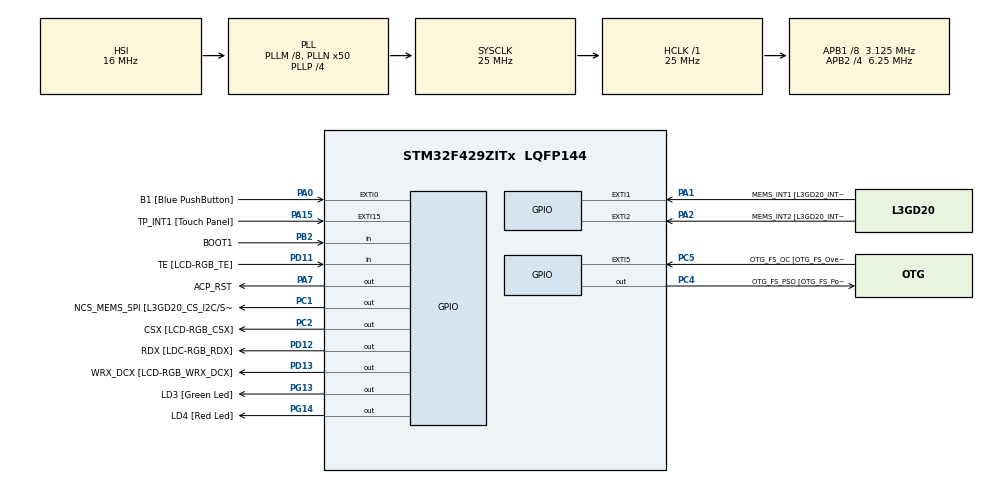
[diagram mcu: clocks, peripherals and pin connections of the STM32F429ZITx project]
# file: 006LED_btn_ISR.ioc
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Mcu.Family=STM32F4
Mcu.Name=STM32F429ZITx
Mcu.Package=LQFP144
NVIC.EXTI0_IRQn=true\:6\:0\:true\:false\:true\:true\:true
NVIC.PriorityGroup=NVIC_PRIORITYGROUP_4
NVIC.TIM6_DAC_IRQn=true\:15\:0\:false\:false\:true\:false\:true
NVIC.TimeBase=TIM6_DAC_IRQn
NVIC.TimeBaseIP=TIM6
PA0/WKUP.GPIO_Label=B1 [Blue PushButton]
PA0/WKUP.GPIO_ModeDefaultEXTI=GPIO_MODE_IT_FALLING
PA0/WKUP.GPIO_PuPd=GPIO_NOPULL
PA0/WKUP.Signal=GPXTI0
PA1.GPIO_Label=MEMS_INT1 [L3GD20_INT1]
PA1.GPIO_ModeDefaultEXTI=GPIO_MODE_EVT_RISING
PA1.GPIO_PuPd=GPIO_NOPULL
PA1.Signal=GPXTI1
PA10.GPIO_Label=STLINK_TX [STM32F103CBT6_PA2]
PA10.Signal=USART1_RX
PA11.GPIO_Label=R4
PA11.GPIO_Mode=GPIO_MODE_AF_PP
PA11.GPIO_PuPd=GPIO_NOPULL
PA11.GPIO_Speed=GPIO_SPEED_FREQ_LOW
PA11.Signal=LTDC_R4
PA12.GPIO_Label=R5
PA12.GPIO_Mode=GPIO_MODE_AF_PP
PA12.GPIO_PuPd=GPIO_NOPULL
PA12.GPIO_Speed=GPIO_SPEED_FREQ_LOW
PA12.Signal=LTDC_R5
PA13.GPIO_Label=SWDIO
PA13.Signal=SYS_JTMS-SWDIO
PA14.GPIO_Label=SWCLK
PA14.Signal=SYS_JTCK-SWCLK
PA15.GPIO_Label=TP_INT1 [Touch Panel]
PA15.GPIO_ModeDefaultEXTI=GPIO_MODE_EVT_RISING
PA15.GPIO_PuPd=GPIO_NOPULL
PA15.Signal=GPXTI15
PA2.GPIO_Label=MEMS_INT2 [L3GD20_INT2]
PA2.GPIO_ModeDefaultEXTI=GPIO_MODE_EVT_RISING
PA2.GPIO_PuPd=GPIO_NOPULL
PA2.Signal=GPXTI2
PA3.GPIO_Label=B5
PA3.GPIO_Mode=GPIO_MODE_AF_PP
PA3.GPIO_PuPd=GPIO_NOPULL
PA3.GPIO_Speed=GPIO_SPEED_FREQ_LOW
PA3.Signal=LTDC_B5
PA4.GPIO_Label=VSYNC
PA4.GPIO_Mode=GPIO_MODE_AF_PP
PA4.GPIO_PuPd=GPIO_NOPULL
PA4.GPIO_Speed=GPIO_SPEED_FREQ_LOW
PA4.Signal=LTDC_VSYNC
PA6.GPIO_Label=G2
PA6.GPIO_Mode=GPIO_MODE_AF_PP
PA6.GPIO_PuPd=GPIO_NOPULL
PA6.GPIO_Speed=GPIO_SPEED_FREQ_LOW
PA6.Signal=LTDC_G2
PA7.GPIO_Label=ACP_RST
PA7.GPIO_Mode=GPIO_MODE_OUTPUT_PP
PA7.GPIO_PuPd=GPIO_NOPULL
PA7.GPIO_Speed=GPIO_SPEED_FREQ_LOW
PA7.Signal=GPIO_Output
PA8.GPIO_Label=I2C3_SCL [ACP/RF_SCL]
PA8.GPIO_Mode=GPIO_MODE_AF_OD
PA8.GPIO_PuPd=GPIO_NOPULL
PA8.GPIO_Speed=GPIO_SPEED_FREQ_LOW
PA8.Signal=I2C3_SCL
PA9.GPIO_Label=STLINK_RX [STM32F103CBT6_PA3]
PA9.Signal=USART1_TX
PB0.GPIO_Label=R3
PB0.GPIO_Mode=GPIO_MODE_AF_PP
PB0.GPIO_PuPd=GPIO_NOPULL
PB0.GPIO_Speed=GPIO_SPEED_FREQ_LOW
PB0.Signal=LTDC_R3
PB1.GPIO_Label=R6
PB1.GPIO_Mode=GPIO_MODE_AF_PP
PB1.GPIO_PuPd=GPIO_NOPULL
PB1.GPIO_Speed=GPIO_SPEED_FREQ_LOW
PB1.Signal=LTDC_R6
PB10.GPIO_Label=G4
PB10.GPIO_Mode=GPIO_MODE_AF_PP
PB10.GPIO_PuPd=GPIO_NOPULL
PB10.GPIO_Speed=GPIO_SPEED_FREQ_LOW
PB10.Signal=LTDC_G4
PB11.GPIO_Label=G5
PB11.GPIO_Mode=GPIO_MODE_AF_PP
PB11.GPIO_PuPd=GPIO_NOPULL
PB11.GPIO_Speed=GPIO_SPEED_FREQ_LOW
PB11.Signal=LTDC_G5
PB12.GPIO_Label=OTG_HS_ID
PB12.GPIO_Mode=GPIO_MODE_AF_PP
PB12.GPIO_PuPd=GPIO_NOPULL
PB12.GPIO_Speed=GPIO_SPEED_FREQ_LOW
PB12.Signal=USB_OTG_HS_ID
PB13.GPIO_Label=VBUS_HS
PB13.GPIO_Mode=GPIO_MODE_INPUT
PB13.GPIO_PuPd=GPIO_NOPULL
PB13.Signal=USB_OTG_HS_VBUS
PB14.GPIO_Label=OTG_HS_DM
PB14.GPIO_Mode=GPIO_MODE_AF_PP
PB14.GPIO_PuPd=GPIO_NOPULL
PB14.GPIO_Speed=GPIO_SPEED_FREQ_LOW
PB14.Signal=USB_OTG_HS_DM
PB15.GPIO_Label=OTG_HS_DP
PB15.GPIO_Mode=GPIO_MODE_AF_PP
PB15.GPIO_PuPd=GPIO_NOPULL
PB15.GPIO_Speed=GPIO_SPEED_FREQ_LOW
PB15.Signal=USB_OTG_HS_DP
PB2/BOOT1.GPIO_Label=BOOT1
PB2/BOOT1.GPIO_Mode=GPIO_MODE_INPUT
PB2/BOOT1.GPIO_PuPd=GPIO_NOPULL
PB2/BOOT1.Signal=GPIO_Input
PB5.GPIO_Label=SDCKE1
PB5.GPIO_Mode=GPIO_MODE_AF_PP
PB5.GPIO_PuPd=GPIO_NOPULL
PB5.GPIO_Speed=GPIO_SPEED_FREQ_VERY_HIGH
PB5.Signal=FMC_SDCKE1
PB6.GPIO_Label=SDNE1 [SDRAM_CS]
PB6.GPIO_Mode=GPIO_MODE_AF_PP
PB6.GPIO_PuPd=GPIO_NOPULL
PB6.GPIO_Speed=GPIO_SPEED_FREQ_VERY_HIGH
PB6.Signal=FMC_SDNE1
PB8.GPIO_Label=B6
PB8.GPIO_Mode=GPIO_MODE_AF_PP
PB8.GPIO_PuPd=GPIO_NOPULL
PB8.GPIO_Speed=GPIO_SPEED_FREQ_LOW
PB8.Signal=LTDC_B6
PB9.GPIO_Label=B7
PB9.GPIO_Mode=GPIO_MODE_AF_PP
PB9.GPIO_PuPd=GPIO_NOPULL
PB9.GPIO_Speed=GPIO_SPEED_FREQ_LOW
PB9.Signal=LTDC_B7
PC0.GPIO_Label=SDNWE
PC0.GPIO_Mode=GPIO_MODE_AF_PP
PC0.GPIO_PuPd=GPIO_NOPULL
PC0.GPIO_Speed=GPIO_SPEED_FREQ_VERY_HIGH
PC0.Signal=FMC_SDNWE
PC1.GPIO_Label=NCS_MEMS_SPI [L3GD20_CS_I2C/SPI]
PC1.GPIO_Mode=GPIO_MODE_OUTPUT_PP
PC1.GPIO_PuPd=GPIO_NOPULL
PC1.GPIO_Speed=GPIO_SPEED_FREQ_LOW
PC1.Signal=GPIO_Output
PC10.GPIO_Label=R2
PC10.GPIO_Mode=GPIO_MODE_AF_PP
PC10.GPIO_PuPd=GPIO_NOPULL
PC10.GPIO_Speed=GPIO_SPEED_FREQ_LOW
PC10.Signal=LTDC_R2
PC14/OSC32_IN.GPIO_Label=PC14-OSC32_IN
PC14/OSC32_IN.Signal=RCC_OSC32_IN
PC15/OSC32_OUT.GPIO_Label=PC15-OSC32_OUT
PC15/OSC32_OUT.Signal=RCC_OSC32_OUT
PC2.GPIO_Label=CSX [LCD-RGB_CSX]
PC2.GPIO_Mode=GPIO_MODE_OUTPUT_PP
PC2.GPIO_PuPd=GPIO_NOPULL
PC2.GPIO_Speed=GPIO_SPEED_FREQ_LOW
PC2.Signal=GPIO_Output
PC4.GPIO_Label=OTG_FS_PSO [OTG_FS_PowerSwitchOn]
PC4.GPIO_Mode=GPIO_MODE_OUTPUT_PP
PC4.GPIO_PuPd=GPIO_NOPULL
PC4.GPIO_Speed=GPIO_SPEED_FREQ_LOW
PC4.Signal=GPIO_Output
PC5.GPIO_Label=OTG_FS_OC [OTG_FS_OverCurrent]
PC5.GPIO_ModeDefaultEXTI=GPIO_MODE_EVT_RISING
PC5.Signal=GPXTI5
PC6.GPIO_Label=HSYNC
PC6.GPIO_Mode=GPIO_MODE_AF_PP
PC6.GPIO_PuPd=GPIO_NOPULL
PC6.GPIO_Speed=GPIO_SPEED_FREQ_LOW
PC6.Signal=LTDC_HSYNC
PC7.GPIO_Label=G6
PC7.GPIO_Mode=GPIO_MODE_AF_PP
PC7.GPIO_PuPd=GPIO_NOPULL
PC7.GPIO_Speed=GPIO_SPEED_FREQ_LOW
PC7.Signal=LTDC_G6
PC9.GPIO_Label=I2C3_SDA [ACP/RF_SDA]
PC9.GPIO_Mode=GPIO_MODE_AF_OD
PC9.GPIO_PuPd=GPIO_NOPULL
PC9.GPIO_Speed=GPIO_SPEED_FREQ_LOW
PC9.Signal=I2C3_SDA
PD0.GPIO_Label=D2
PD0.GPIO_Mode=GPIO_MODE_AF_PP
PD0.GPIO_PuPd=GPIO_NOPULL
PD0.GPIO_Speed=GPIO_SPEED_FREQ_VERY_HIGH
PD0.Signal=FMC_D2_DA2
PD1.GPIO_Label=D3
PD1.GPIO_Mode=GPIO_MODE_AF_PP
PD1.GPIO_PuPd=GPIO_NOPULL
PD1.GPIO_Speed=GPIO_SPEED_FREQ_VERY_HIGH
PD1.Signal=FMC_D3_DA3
PD10.GPIO_Label=D15
PD10.GPIO_Mode=GPIO_MODE_AF_PP
PD10.GPIO_PuPd=GPIO_NOPULL
PD10.GPIO_Speed=GPIO_SPEED_FREQ_VERY_HIGH
PD10.Signal=FMC_D15_DA15
PD11.GPIO_Label=TE [LCD-RGB_TE]
PD11.GPIO_Mode=GPIO_MODE_INPUT
PD11.GPIO_PuPd=GPIO_NOPULL
PD11.Signal=GPIO_Input
PD12.GPIO_Label=RDX [LDC-RGB_RDX]
PD12.GPIO_Mode=GPIO_MODE_OUTPUT_PP
PD12.GPIO_PuPd=GPIO_NOPULL
PD12.GPIO_Speed=GPIO_SPEED_FREQ_LOW
PD12.Signal=GPIO_Output
PD13.GPIO_Label=WRX_DCX [LCD-RGB_WRX_DCX]
PD13.GPIO_Mode=GPIO_MODE_OUTPUT_PP
PD13.GPIO_PuPd=GPIO_NOPULL
PD13.GPIO_Speed=GPIO_SPEED_FREQ_LOW
PD13.Signal=GPIO_Output
PD14.GPIO_Label=D0
PD14.GPIO_Mode=GPIO_MODE_AF_PP
PD14.GPIO_PuPd=GPIO_NOPULL
PD14.GPIO_Speed=GPIO_SPEED_FREQ_VERY_HIGH
PD14.Signal=FMC_D0_DA0
PD15.GPIO_Label=D1
PD15.GPIO_Mode=GPIO_MODE_AF_PP
PD15.GPIO_PuPd=GPIO_NOPULL
PD15.GPIO_Speed=GPIO_SPEED_FREQ_VERY_HIGH
PD15.Signal=FMC_D1_DA1
PD3.GPIO_Label=G7
PD3.GPIO_Mode=GPIO_MODE_AF_PP
PD3.GPIO_PuPd=GPIO_NOPULL
PD3.GPIO_Speed=GPIO_SPEED_FREQ_LOW
PD3.Signal=LTDC_G7
PD6.GPIO_Label=B2
PD6.GPIO_Mode=GPIO_MODE_AF_PP
PD6.GPIO_PuPd=GPIO_NOPULL
PD6.GPIO_Speed=GPIO_SPEED_FREQ_LOW
PD6.Signal=LTDC_B2
PD8.GPIO_Label=D13
PD8.GPIO_Mode=GPIO_MODE_AF_PP
PD8.GPIO_PuPd=GPIO_NOPULL
PD8.GPIO_Speed=GPIO_SPEED_FREQ_VERY_HIGH
PD8.Signal=FMC_D13_DA13
PD9.GPIO_Label=D14
PD9.GPIO_Mode=GPIO_MODE_AF_PP
PD9.GPIO_PuPd=GPIO_NOPULL
PD9.GPIO_Speed=GPIO_SPEED_FREQ_VERY_HIGH
PD9.Signal=FMC_D14_DA14
PE0.GPIO_Label=NBL0 [SDRAM_LDQM]
PE0.GPIO_Mode=GPIO_MODE_AF_PP
PE0.GPIO_PuPd=GPIO_NOPULL
PE0.GPIO_Speed=GPIO_SPEED_FREQ_VERY_HIGH
PE0.Signal=FMC_NBL0
PE1.GPIO_Label=NBL1 [SDRAM_UDQM]
PE1.GPIO_Mode=GPIO_MODE_AF_PP
PE1.GPIO_PuPd=GPIO_NOPULL
PE1.GPIO_Speed=GPIO_SPEED_FREQ_VERY_HIGH
PE1.Signal=FMC_NBL1
PE10.GPIO_Label=D7
PE10.GPIO_Mode=GPIO_MODE_AF_PP
PE10.GPIO_PuPd=GPIO_NOPULL
PE10.GPIO_Speed=GPIO_SPEED_FREQ_VERY_HIGH
PE10.Signal=FMC_D7_DA7
PE11.GPIO_Label=D8
PE11.GPIO_Mode=GPIO_MODE_AF_PP
PE11.GPIO_PuPd=GPIO_NOPULL
PE11.GPIO_Speed=GPIO_SPEED_FREQ_VERY_HIGH
PE11.Signal=FMC_D8_DA8
PE12.GPIO_Label=D9
PE12.GPIO_Mode=GPIO_MODE_AF_PP
PE12.GPIO_PuPd=GPIO_NOPULL
PE12.GPIO_Speed=GPIO_SPEED_FREQ_VERY_HIGH
PE12.Signal=FMC_D9_DA9
PE13.GPIO_Label=D10
PE13.GPIO_Mode=GPIO_MODE_AF_PP
PE13.GPIO_PuPd=GPIO_NOPULL
PE13.GPIO_Speed=GPIO_SPEED_FREQ_VERY_HIGH
PE13.Signal=FMC_D10_DA10
PE14.GPIO_Label=D11
PE14.GPIO_Mode=GPIO_MODE_AF_PP
PE14.GPIO_PuPd=GPIO_NOPULL
PE14.GPIO_Speed=GPIO_SPEED_FREQ_VERY_HIGH
PE14.Signal=FMC_D11_DA11
PE15.GPIO_Label=D12
PE15.GPIO_Mode=GPIO_MODE_AF_PP
PE15.GPIO_PuPd=GPIO_NOPULL
PE15.GPIO_Speed=GPIO_SPEED_FREQ_VERY_HIGH
PE15.Signal=FMC_D12_DA12
PE7.GPIO_Label=D4
PE7.GPIO_Mode=GPIO_MODE_AF_PP
PE7.GPIO_PuPd=GPIO_NOPULL
PE7.GPIO_Speed=GPIO_SPEED_FREQ_VERY_HIGH
PE7.Signal=FMC_D4_DA4
PE8.GPIO_Label=D5
PE8.GPIO_Mode=GPIO_MODE_AF_PP
PE8.GPIO_PuPd=GPIO_NOPULL
PE8.GPIO_Speed=GPIO_SPEED_FREQ_VERY_HIGH
PE8.Signal=FMC_D5_DA5
PE9.GPIO_Label=D6
PE9.GPIO_Mode=GPIO_MODE_AF_PP
PE9.GPIO_PuPd=GPIO_NOPULL
PE9.GPIO_Speed=GPIO_SPEED_FREQ_VERY_HIGH
PE9.Signal=FMC_D6_DA6
PF0.GPIO_Label=A0
PF0.GPIO_Mode=GPIO_MODE_AF_PP
PF0.GPIO_PuPd=GPIO_NOPULL
PF0.GPIO_Speed=GPIO_SPEED_FREQ_VERY_HIGH
PF0.Signal=FMC_A0
PF1.GPIO_Label=A1
PF1.GPIO_Mode=GPIO_MODE_AF_PP
PF1.GPIO_PuPd=GPIO_NOPULL
PF1.GPIO_Speed=GPIO_SPEED_FREQ_VERY_HIGH
PF1.Signal=FMC_A1
PF10.GPIO_Label=ENABLE [LCD-RGB_ENABLE]
PF10.GPIO_Mode=GPIO_MODE_AF_PP
PF10.GPIO_PuPd=GPIO_NOPULL
PF10.GPIO_Speed=GPIO_SPEED_FREQ_LOW
PF10.Signal=LTDC_DE
PF11.GPIO_Label=SDNRAS
PF11.GPIO_Mode=GPIO_MODE_AF_PP
PF11.GPIO_PuPd=GPIO_NOPULL
PF11.GPIO_Speed=GPIO_SPEED_FREQ_VERY_HIGH
PF11.Signal=FMC_SDNRAS
PF12.GPIO_Label=A6
PF12.GPIO_Mode=GPIO_MODE_AF_PP
PF12.GPIO_PuPd=GPIO_NOPULL
PF12.GPIO_Speed=GPIO_SPEED_FREQ_VERY_HIGH
PF12.Signal=FMC_A6
PF13.GPIO_Label=A7
PF13.GPIO_Mode=GPIO_MODE_AF_PP
PF13.GPIO_PuPd=GPIO_NOPULL
PF13.GPIO_Speed=GPIO_SPEED_FREQ_VERY_HIGH
PF13.Signal=FMC_A7
PF14.GPIO_Label=A8
PF14.GPIO_Mode=GPIO_MODE_AF_PP
PF14.GPIO_PuPd=GPIO_NOPULL
PF14.GPIO_Speed=GPIO_SPEED_FREQ_VERY_HIGH
PF14.Signal=FMC_A8
PF15.GPIO_Label=A9
PF15.GPIO_Mode=GPIO_MODE_AF_PP
PF15.GPIO_PuPd=GPIO_NOPULL
PF15.GPIO_Speed=GPIO_SPEED_FREQ_VERY_HIGH
PF15.Signal=FMC_A9
PF2.GPIO_Label=A2
PF2.GPIO_Mode=GPIO_MODE_AF_PP
PF2.GPIO_PuPd=GPIO_NOPULL
PF2.GPIO_Speed=GPIO_SPEED_FREQ_VERY_HIGH
PF2.Signal=FMC_A2
PF3.GPIO_Label=A3
PF3.GPIO_Mode=GPIO_MODE_AF_PP
PF3.GPIO_PuPd=GPIO_NOPULL
PF3.GPIO_Speed=GPIO_SPEED_FREQ_VERY_HIGH
PF3.Signal=FMC_A3
PF4.GPIO_Label=A4
PF4.GPIO_Mode=GPIO_MODE_AF_PP
PF4.GPIO_PuPd=GPIO_NOPULL
PF4.GPIO_Speed=GPIO_SPEED_FREQ_VERY_HIGH
PF4.Signal=FMC_A4
PF5.GPIO_Label=A5
PF5.GPIO_Mode=GPIO_MODE_AF_PP
PF5.GPIO_PuPd=GPIO_NOPULL
PF5.GPIO_Speed=GPIO_SPEED_FREQ_VERY_HIGH
PF5.Signal=FMC_A5
PF7.GPIO_Label=SPI5_SCK [L3GD20_SCL/SPC]
PF7.GPIO_Mode=GPIO_MODE_AF_PP
PF7.GPIO_PuPd=GPIO_NOPULL
PF7.GPIO_Speed=GPIO_SPEED_FREQ_LOW
PF7.Signal=SPI5_SCK
PF8.GPIO_Label=SPI5_MISO [L3GD20_SDO]
PF8.GPIO_Mode=GPIO_MODE_AF_PP
PF8.GPIO_PuPd=GPIO_NOPULL
PF8.GPIO_Speed=GPIO_SPEED_FREQ_LOW
PF8.Signal=SPI5_MISO
PF9.GPIO_Label=SPI5_MOSI [L3GD20_SDA/SDI/SDO]
PF9.GPIO_Mode=GPIO_MODE_AF_PP
PF9.GPIO_PuPd=GPIO_NOPULL
PF9.GPIO_Speed=GPIO_SPEED_FREQ_LOW
PF9.Signal=SPI5_MOSI
PG0.GPIO_Label=A10
PG0.GPIO_Mode=GPIO_MODE_AF_PP
PG0.GPIO_PuPd=GPIO_NOPULL
PG0.GPIO_Speed=GPIO_SPEED_FREQ_VERY_HIGH
PG0.Signal=FMC_A10
PG1.GPIO_Label=A11
PG1.GPIO_Mode=GPIO_MODE_AF_PP
PG1.GPIO_PuPd=GPIO_NOPULL
PG1.GPIO_Speed=GPIO_SPEED_FREQ_VERY_HIGH
PG1.Signal=FMC_A11
PG10.GPIO_Label=G3
PG10.GPIO_Mode=GPIO_MODE_AF_PP
PG10.GPIO_PuPd=GPIO_NOPULL
PG10.GPIO_Speed=GPIO_SPEED_FREQ_LOW
PG10.Signal=LTDC_G3
PG11.GPIO_Label=B3
PG11.GPIO_Mode=GPIO_MODE_AF_PP
PG11.GPIO_PuPd=GPIO_NOPULL
PG11.GPIO_Speed=GPIO_SPEED_FREQ_LOW
PG11.Signal=LTDC_B3
PG12.GPIO_Label=B4
PG12.GPIO_Mode=GPIO_MODE_AF_PP
PG12.GPIO_PuPd=GPIO_NOPULL
PG12.GPIO_Speed=GPIO_SPEED_FREQ_LOW
PG12.Signal=LTDC_B4
PG13.GPIO_Label=LD3 [Green Led]
PG13.GPIO_Mode=GPIO_MODE_OUTPUT_PP
PG13.GPIO_PuPd=GPIO_NOPULL
PG13.GPIO_Speed=GPIO_SPEED_FREQ_LOW
PG13.Signal=GPIO_Output
PG14.GPIO_Label=LD4 [Red Led]
PG14.GPIO_Mode=GPIO_MODE_OUTPUT_PP
PG14.GPIO_PuPd=GPIO_NOPULL
PG14.GPIO_Speed=GPIO_SPEED_FREQ_LOW
PG14.Signal=GPIO_Output
PG15.GPIO_Label=SDNCAS
PG15.GPIO_Mode=GPIO_MODE_AF_PP
PG15.GPIO_PuPd=GPIO_NOPULL
PG15.GPIO_Speed=GPIO_SPEED_FREQ_VERY_HIGH
PG15.Signal=FMC_SDNCAS
PG4.GPIO_Label=BA0
PG4.GPIO_Mode=GPIO_MODE_AF_PP
PG4.GPIO_PuPd=GPIO_NOPULL
PG4.GPIO_Speed=GPIO_SPEED_FREQ_VERY_HIGH
PG4.Signal=FMC_A14_BA0
PG5.GPIO_Label=BA1
PG5.GPIO_Mode=GPIO_MODE_AF_PP
PG5.GPIO_PuPd=GPIO_NOPULL
PG5.GPIO_Speed=GPIO_SPEED_FREQ_VERY_HIGH
PG5.Signal=FMC_A15_BA1
PG6.GPIO_Label=R7
PG6.GPIO_Mode=GPIO_MODE_AF_PP
PG6.GPIO_PuPd=GPIO_NOPULL
PG6.GPIO_Speed=GPIO_SPEED_FREQ_LOW
PG6.Signal=LTDC_R7
PG7.GPIO_Label=DOTCLK [LCT-RGB_DOTCLK]
PG7.GPIO_Mode=GPIO_MODE_AF_PP
PG7.GPIO_PuPd=GPIO_NOPULL
PG7.GPIO_Speed=GPIO_SPEED_FREQ_LOW
PG7.Signal=LTDC_CLK
PG8.GPIO_Label=SDCLK
PG8.GPIO_Mode=GPIO_MODE_AF_PP
PG8.GPIO_PuPd=GPIO_NOPULL
PG8.GPIO_Speed=GPIO_SPEED_FREQ_VERY_HIGH
PG8.Signal=FMC_SDCLK
PH0/OSC_IN.GPIO_Label=PH0-OSC_IN
PH0/OSC_IN.Signal=RCC_OSC_IN
PH1/OSC_OUT.GPIO_Label=PH1-OSC_OUT
PH1/OSC_OUT.Signal=RCC_OSC_OUT
ProjectManager.HeapSize=0x200
ProjectManager.StackSize=0x400
ProjectManager.TargetToolchain=STM32CubeIDE
RCC.48MHZClocksFreq_Value=14285714.285714285
RCC.AHBFreq_Value=25000000
RCC.APB1CLKDivider=RCC_HCLK_DIV8
RCC.APB1Freq_Value=3125000
RCC.APB1TimFreq_Value=6250000
RCC.APB2CLKDivider=RCC_HCLK_DIV4
RCC.APB2Freq_Value=6250000
RCC.APB2TimFreq_Value=12500000
RCC.CortexFreq_Value=25000000
RCC.HCLKFreq_Value=25000000
RCC.HSE_VALUE=8000000
RCC.HSI_VALUE=16000000
RCC.LSE_VALUE=32768
RCC.PLLM=8
RCC.PLLN=50
RCC.PLLP=RCC_PLLP_DIV4
RCC.PLLQ=7
RCC.SYSCLKFreq_VALUE=25000000
RCC.SYSCLKSource=RCC_SYSCLKSOURCE_PLLCLK
RCC.VCOOutputFreq_Value=100000000
SH.FMC_A0.0=FMC_A0
SH.FMC_A1.0=FMC_A1
SH.FMC_A10.0=FMC_A10
SH.FMC_A11.0=FMC_A11
SH.FMC_A14_BA0.0=FMC_BA0
SH.FMC_A15_BA1.0=FMC_BA1
SH.FMC_A2.0=FMC_A2
SH.FMC_A3.0=FMC_A3
SH.FMC_A4.0=FMC_A4
SH.FMC_A5.0=FMC_A5
SH.FMC_A6.0=FMC_A6
SH.FMC_A7.0=FMC_A7
SH.FMC_A8.0=FMC_A8
SH.FMC_A9.0=FMC_A9
SH.FMC_D0_DA0.0=FMC_D0
SH.FMC_D10_DA10.0=FMC_D10
SH.FMC_D11_DA11.0=FMC_D11
SH.FMC_D12_DA12.0=FMC_D12
SH.FMC_D13_DA13.0=FMC_D13
SH.FMC_D14_DA14.0=FMC_D14
SH.FMC_D15_DA15.0=FMC_D15
SH.FMC_D1_DA1.0=FMC_D1
SH.FMC_D2_DA2.0=FMC_D2
SH.FMC_D3_DA3.0=FMC_D3
SH.FMC_D4_DA4.0=FMC_D4
SH.FMC_D5_DA5.0=FMC_D5
SH.FMC_D6_DA6.0=FMC_D6
SH.FMC_D7_DA7.0=FMC_D7
SH.FMC_D8_DA8.0=FMC_D8
SH.FMC_D9_DA9.0=FMC_D9
SH.FMC_NBL0.0=FMC_NBL0
SH.FMC_NBL1.0=FMC_NBL1
SH.FMC_SDCLK.0=FMC_SDCLK
SH.FMC_SDNCAS.0=FMC_SDNCAS
SH.FMC_SDNRAS.0=FMC_SDNRAS
SH.FMC_SDNWE.0=FMC_SDNWE
VP_SYS_VS_tim6.Mode=TIM6
board=STM32F429I-DISC1

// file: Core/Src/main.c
/* USER CODE BEGIN Header */
/**
  ******************************************************************************
  * @file           : main.c
  * @brief          : Main program body
  ******************************************************************************
  * @attention
  *
  * <h2><center>&copy; Copyright (c) 2021 STMicroelectronics.
  * All rights reserved.</center></h2>
  *
  * This software component is licensed by ST under BSD 3-Clause license,
  * the "License"; You may not use this file except in compliance with the
  * License. You may obtain a copy of the License at:
  *                        opensource.org/licenses/BSD-3-Clause
  *
  ******************************************************************************
  */
/* USER CODE END Header */
#include "main.h"

/* USER CODE BEGIN Includes */

#include "FreeRTOS.h"
#include "task.h"

/* USER CODE END Includes */

/* USER CODE BEGIN PV */

#define DWT_CTRL    (*(volatile uint32_t*)0xE0001000)

/* USER CODE END PV */

void SystemClock_Config(void);
static void MX_GPIO_Init(void);
/* USER CODE BEGIN PFP */

static void led_green_handler(void* parameters);
//static void led_orange_handler(void* parameters);
static void led_red_handler(void* parameters);

TaskHandle_t ledg_task_handle;
//TaskHandle_t ledo_task_handle;
TaskHandle_t ledr_task_handle;
TaskHandle_t btn_task_handle;

TaskHandle_t volatile next_task_handle = NULL;

/* USER CODE END PFP */

int main(void)
{
  /* USER CODE BEGIN 1 */
	BaseType_t  status;

  /* USER CODE END 1 */

  /* MCU Configuration--------------------------------------------------------*/

  /* Reset of all peripherals, Initializes the Flash interface and the Systick. */
  HAL_Init();

  /* Configure the system clock */
  SystemClock_Config();

  /* Initialize all configured peripherals */
  MX_GPIO_Init();
  /* USER CODE BEGIN 2 */

  DWT_CTRL |= ( 1 << 0);

  SEGGER_SYSVIEW_Conf();
  SEGGER_SYSVIEW_Start();

  status = xTaskCreate(led_green_handler, "LED_green_task", 200, NULL, 2, &ledg_task_handle);

  configASSERT(status == pdPASS);

  next_task_handle = ledg_task_handle;

  status = xTaskCreate(led_red_handler, "LED_red_task", 200,NULL, 1, &ledr_task_handle);

  configASSERT(status == pdPASS);

  //start the freeRTOS scheduler
    vTaskStartScheduler();

  /* USER CODE END 2 */

  /* Infinite loop */
  while (1)
  {

  }
}

void SystemClock_Config(void)
{
  RCC_OscInitTypeDef RCC_OscInitStruct = {0};
  RCC_ClkInitTypeDef RCC_ClkInitStruct = {0};

  /** Configure the main internal regulator output voltage
  */
  __HAL_RCC_PWR_CLK_ENABLE();
  __HAL_PWR_VOLTAGESCALING_CONFIG(PWR_REGULATOR_VOLTAGE_SCALE3);
  /** Initializes the RCC Oscillators according to the specified parameters
  * in the RCC_OscInitTypeDef structure.
  */
  RCC_OscInitStruct.OscillatorType = RCC_OSCILLATORTYPE_HSI;
  RCC_OscInitStruct.HSIState = RCC_HSI_ON;
  RCC_OscInitStruct.HSICalibrationValue = RCC_HSICALIBRATION_DEFAULT;
  RCC_OscInitStruct.PLL.PLLState = RCC_PLL_ON;
  RCC_OscInitStruct.PLL.PLLSource = RCC_PLLSOURCE_HSI;
  RCC_OscInitStruct.PLL.PLLM = 8;
  RCC_OscInitStruct.PLL.PLLN = 50;
  RCC_OscInitStruct.PLL.PLLP = RCC_PLLP_DIV4;
  RCC_OscInitStruct.PLL.PLLQ = 7;
  if (HAL_RCC_OscConfig(&RCC_OscInitStruct) != HAL_OK)
  {
    Error_Handler();
  }
  /** Initializes the CPU, AHB and APB buses clocks
  */
  RCC_ClkInitStruct.ClockType = RCC_CLOCKTYPE_HCLK|RCC_CLOCKTYPE_SYSCLK
                              |RCC_CLOCKTYPE_PCLK1|RCC_CLOCKTYPE_PCLK2;
  RCC_ClkInitStruct.SYSCLKSource = RCC_SYSCLKSOURCE_PLLCLK;
  RCC_ClkInitStruct.AHBCLKDivider = RCC_SYSCLK_DIV1;
  RCC_ClkInitStruct.APB1CLKDivider = RCC_HCLK_DIV8;
  RCC_ClkInitStruct.APB2CLKDivider = RCC_HCLK_DIV4;

  if (HAL_RCC_ClockConfig(&RCC_ClkInitStruct, FLASH_LATENCY_0) != HAL_OK)
  {
    Error_Handler();
  }
}

static void MX_GPIO_Init(void)
{
  GPIO_InitTypeDef GPIO_InitStruct = {0};

  /* GPIO Ports Clock Enable */
  __HAL_RCC_GPIOC_CLK_ENABLE();
  __HAL_RCC_GPIOF_CLK_ENABLE();
  __HAL_RCC_GPIOH_CLK_ENABLE();
  __HAL_RCC_GPIOA_CLK_ENABLE();
  __HAL_RCC_GPIOB_CLK_ENABLE();
  __HAL_RCC_GPIOG_CLK_ENABLE();
  __HAL_RCC_GPIOE_CLK_ENABLE();
  __HAL_RCC_GPIOD_CLK_ENABLE();

  /*Configure GPIO pin Output Level */
  HAL_GPIO_WritePin(GPIOC, NCS_MEMS_SPI_Pin|CSX_Pin|OTG_FS_PSO_Pin, GPIO_PIN_RESET);

  /*Configure GPIO pin Output Level */
  HAL_GPIO_WritePin(ACP_RST_GPIO_Port, ACP_RST_Pin, GPIO_PIN_RESET);

  /*Configure GPIO pin Output Level */
  HAL_GPIO_WritePin(GPIOD, RDX_Pin|WRX_DCX_Pin, GPIO_PIN_RESET);

  /*Configure GPIO pin Output Level */
  HAL_GPIO_WritePin(GPIOG, LD3_Pin|LD4_Pin, GPIO_PIN_RESET);

  /*Configure GPIO pins : A0_Pin A1_Pin A2_Pin A3_Pin
                           A4_Pin A5_Pin SDNRAS_Pin A6_Pin
                           A7_Pin A8_Pin A9_Pin */
  GPIO_InitStruct.Pin = A0_Pin|A1_Pin|A2_Pin|A3_Pin
                          |A4_Pin|A5_Pin|SDNRAS_Pin|A6_Pin
                          |A7_Pin|A8_Pin|A9_Pin;
  GPIO_InitStruct.Mode = GPIO_MODE_AF_PP;
  GPIO_InitStruct.Pull = GPIO_NOPULL;
  GPIO_InitStruct.Speed = GPIO_SPEED_FREQ_VERY_HIGH;
  GPIO_InitStruct.Alternate = GPIO_AF12_FMC;
  HAL_GPIO_Init(GPIOF, &GPIO_InitStruct);

  /*Configure GPIO pins : SPI5_SCK_Pin SPI5_MISO_Pin SPI5_MOSI_Pin */
  GPIO_InitStruct.Pin = SPI5_SCK_Pin|SPI5_MISO_Pin|SPI5_MOSI_Pin;
  GPIO_InitStruct.Mode = GPIO_MODE_AF_PP;
  GPIO_InitStruct.Pull = GPIO_NOPULL;
  GPIO_InitStruct.Speed = GPIO_SPEED_FREQ_LOW;
  GPIO_InitStruct.Alternate = GPIO_AF5_SPI5;
  HAL_GPIO_Init(GPIOF, &GPIO_InitStruct);

  /*Configure GPIO pin : ENABLE_Pin */
  GPIO_InitStruct.Pin = ENABLE_Pin;
  GPIO_InitStruct.Mode = GPIO_MODE_AF_PP;
  GPIO_InitStruct.Pull = GPIO_NOPULL;
  GPIO_InitStruct.Speed = GPIO_SPEED_FREQ_LOW;
  GPIO_InitStruct.Alternate = GPIO_AF14_LTDC;
  HAL_GPIO_Init(ENABLE_GPIO_Port, &GPIO_InitStruct);

  /*Configure GPIO pin : SDNWE_Pin */
  GPIO_InitStruct.Pin = SDNWE_Pin;
  GPIO_InitStruct.Mode = GPIO_MODE_AF_PP;
  GPIO_InitStruct.Pull = GPIO_NOPULL;
  GPIO_InitStruct.Speed = GPIO_SPEED_FREQ_VERY_HIGH;
  GPIO_InitStruct.Alternate = GPIO_AF12_FMC;
  HAL_GPIO_Init(SDNWE_GPIO_Port, &GPIO_InitStruct);

  /*Configure GPIO pins : NCS_MEMS_SPI_Pin CSX_Pin OTG_FS_PSO_Pin */
  GPIO_InitStruct.Pin = NCS_MEMS_SPI_Pin|CSX_Pin|OTG_FS_PSO_Pin;
  GPIO_InitStruct.Mode = GPIO_MODE_OUTPUT_PP;
  GPIO_InitStruct.Pull = GPIO_NOPULL;
  GPIO_InitStruct.Speed = GPIO_SPEED_FREQ_LOW;
  HAL_GPIO_Init(GPIOC, &GPIO_InitStruct);

  /*Configure GPIO pin : B1_Pin */
  GPIO_InitStruct.Pin = B1_Pin;
  GPIO_InitStruct.Mode = GPIO_MODE_IT_FALLING;
  GPIO_InitStruct.Pull = GPIO_NOPULL;
  HAL_GPIO_Init(B1_GPIO_Port, &GPIO_InitStruct);

  /*Configure GPIO pins : MEMS_INT1_Pin MEMS_INT2_Pin TP_INT1_Pin */
  GPIO_InitStruct.Pin = MEMS_INT1_Pin|MEMS_INT2_Pin|TP_INT1_Pin;
  GPIO_InitStruct.Mode = GPIO_MODE_EVT_RISING;
  GPIO_InitStruct.Pull = GPIO_NOPULL;
  HAL_GPIO_Init(GPIOA, &GPIO_InitStruct);

  /*Configure GPIO pins : B5_Pin VSYNC_Pin G2_Pin R4_Pin
                           R5_Pin */
  GPIO_InitStruct.Pin = B5_Pin|VSYNC_Pin|G2_Pin|R4_Pin
                          |R5_Pin;
  GPIO_InitStruct.Mode = GPIO_MODE_AF_PP;
  GPIO_InitStruct.Pull = GPIO_NOPULL;
  GPIO_InitStruct.Speed = GPIO_SPEED_FREQ_LOW;
  GPIO_InitStruct.Alternate = GPIO_AF14_LTDC;
  HAL_GPIO_Init(GPIOA, &GPIO_InitStruct);

  /*Configure GPIO pin : ACP_RST_Pin */
  GPIO_InitStruct.Pin = ACP_RST_Pin;
  GPIO_InitStruct.Mode = GPIO_MODE_OUTPUT_PP;
  GPIO_InitStruct.Pull = GPIO_NOPULL;
  GPIO_InitStruct.Speed = GPIO_SPEED_FREQ_LOW;
  HAL_GPIO_Init(ACP_RST_GPIO_Port, &GPIO_InitStruct);

  /*Configure GPIO pin : OTG_FS_OC_Pin */
  GPIO_InitStruct.Pin = OTG_FS_OC_Pin;
  GPIO_InitStruct.Mode = GPIO_MODE_EVT_RISING;
  GPIO_InitStruct.Pull = GPIO_NOPULL;
  HAL_GPIO_Init(OTG_FS_OC_GPIO_Port, &GPIO_InitStruct);

  /*Configure GPIO pins : R3_Pin R6_Pin */
  GPIO_InitStruct.Pin = R3_Pin|R6_Pin;
  GPIO_InitStruct.Mode = GPIO_MODE_AF_PP;
  GPIO_InitStruct.Pull = GPIO_NOPULL;
  GPIO_InitStruct.Speed = GPIO_SPEED_FREQ_LOW;
  GPIO_InitStruct.Alternate = GPIO_AF9_LTDC;
  HAL_GPIO_Init(GPIOB, &GPIO_InitStruct);

  /*Configure GPIO pin : BOOT1_Pin */
  GPIO_InitStruct.Pin = BOOT1_Pin;
  GPIO_InitStruct.Mode = GPIO_MODE_INPUT;
  GPIO_InitStruct.Pull = GPIO_NOPULL;
  HAL_GPIO_Init(BOOT1_GPIO_Port, &GPIO_InitStruct);

  /*Configure GPIO pins : A10_Pin A11_Pin BA0_Pin BA1_Pin
                           SDCLK_Pin SDNCAS_Pin */
  GPIO_InitStruct.Pin = A10_Pin|A11_Pin|BA0_Pin|BA1_Pin
                          |SDCLK_Pin|SDNCAS_Pin;
  GPIO_InitStruct.Mode = GPIO_MODE_AF_PP;
  GPIO_InitStruct.Pull = GPIO_NOPULL;
  GPIO_InitStruct.Speed = GPIO_SPEED_FREQ_VERY_HIGH;
  GPIO_InitStruct.Alternate = GPIO_AF12_FMC;
  HAL_GPIO_Init(GPIOG, &GPIO_InitStruct);

  /*Configure GPIO pins : D4_Pin D5_Pin D6_Pin D7_Pin
                           D8_Pin D9_Pin D10_Pin D11_Pin
                           D12_Pin NBL0_Pin NBL1_Pin */
  GPIO_InitStruct.Pin = D4_Pin|D5_Pin|D6_Pin|D7_Pin
                          |D8_Pin|D9_Pin|D10_Pin|D11_Pin
                          |D12_Pin|NBL0_Pin|NBL1_Pin;
  GPIO_InitStruct.Mode = GPIO_MODE_AF_PP;
  GPIO_InitStruct.Pull = GPIO_NOPULL;
  GPIO_InitStruct.Speed = GPIO_SPEED_FREQ_VERY_HIGH;
  GPIO_InitStruct.Alternate = GPIO_AF12_FMC;
  HAL_GPIO_Init(GPIOE, &GPIO_InitStruct);

  /*Configure GPIO pins : G4_Pin G5_Pin B6_Pin B7_Pin */
  GPIO_InitStruct.Pin = G4_Pin|G5_Pin|B6_Pin|B7_Pin;
  GPIO_InitStruct.Mode = GPIO_MODE_AF_PP;
  GPIO_InitStruct.Pull = GPIO_NOPULL;
  GPIO_InitStruct.Speed = GPIO_SPEED_FREQ_LOW;
  GPIO_InitStruct.Alternate = GPIO_AF14_LTDC;
  HAL_GPIO_Init(GPIOB, &GPIO_InitStruct);

  /*Configure GPIO pins : OTG_HS_ID_Pin OTG_HS_DM_Pin OTG_HS_DP_Pin */
  GPIO_InitStruct.Pin = OTG_HS_ID_Pin|OTG_HS_DM_Pin|OTG_HS_DP_Pin;
  GPIO_InitStruct.Mode = GPIO_MODE_AF_PP;
  GPIO_InitStruct.Pull = GPIO_NOPULL;
  GPIO_InitStruct.Speed = GPIO_SPEED_FREQ_LOW;
  GPIO_InitStruct.Alternate = GPIO_AF12_OTG_HS_FS;
  HAL_GPIO_Init(GPIOB, &GPIO_InitStruct);

  /*Configure GPIO pin : VBUS_HS_Pin */
  GPIO_InitStruct.Pin = VBUS_HS_Pin;
  GPIO_InitStruct.Mode = GPIO_MODE_INPUT;
  GPIO_InitStruct.Pull = GPIO_NOPULL;
  HAL_GPIO_Init(VBUS_HS_GPIO_Port, &GPIO_InitStruct);

  /*Configure GPIO pins : D13_Pin D14_Pin D15_Pin D0_Pin
                           D1_Pin D2_Pin D3_Pin */
  GPIO_InitStruct.Pin = D13_Pin|D14_Pin|D15_Pin|D0_Pin
                          |D1_Pin|D2_Pin|D3_Pin;
  GPIO_InitStruct.Mode = GPIO_MODE_AF_PP;
  GPIO_InitStruct.Pull = GPIO_NOPULL;
  GPIO_InitStruct.Speed = GPIO_SPEED_FREQ_VERY_HIGH;
  GPIO_InitStruct.Alternate = GPIO_AF12_FMC;
  HAL_GPIO_Init(GPIOD, &GPIO_InitStruct);

  /*Configure GPIO pin : TE_Pin */
  GPIO_InitStruct.Pin = TE_Pin;
  GPIO_InitStruct.Mode = GPIO_MODE_INPUT;
  GPIO_InitStruct.Pull = GPIO_NOPULL;
  HAL_GPIO_Init(TE_GPIO_Port, &GPIO_InitStruct);

  /*Configure GPIO pins : RDX_Pin WRX_DCX_Pin */
  GPIO_InitStruct.Pin = RDX_Pin|WRX_DCX_Pin;
  GPIO_InitStruct.Mode = GPIO_MODE_OUTPUT_PP;
  GPIO_InitStruct.Pull = GPIO_NOPULL;
  GPIO_InitStruct.Speed = GPIO_SPEED_FREQ_LOW;
  HAL_GPIO_Init(GPIOD, &GPIO_InitStruct);

  /*Configure GPIO pins : R7_Pin DOTCLK_Pin B3_Pin */
  GPIO_InitStruct.Pin = R7_Pin|DOTCLK_Pin|B3_Pin;
  GPIO_InitStruct.Mode = GPIO_MODE_AF_PP;
  GPIO_InitStruct.Pull = GPIO_NOPULL;
  GPIO_InitStruct.Speed = GPIO_SPEED_FREQ_LOW;
  GPIO_InitStruct.Alternate = GPIO_AF14_LTDC;
  HAL_GPIO_Init(GPIOG, &GPIO_InitStruct);

  /*Configure GPIO pins : HSYNC_Pin G6_Pin R2_Pin */
  GPIO_InitStruct.Pin = HSYNC_Pin|G6_Pin|R2_Pin;
  GPIO_InitStruct.Mode = GPIO_MODE_AF_PP;
  GPIO_InitStruct.Pull = GPIO_NOPULL;
  GPIO_InitStruct.Speed = GPIO_SPEED_FREQ_LOW;
  GPIO_InitStruct.Alternate = GPIO_AF14_LTDC;
  HAL_GPIO_Init(GPIOC, &GPIO_InitStruct);

  /*Configure GPIO pin : I2C3_SDA_Pin */
  GPIO_InitStruct.Pin = I2C3_SDA_Pin;
  GPIO_InitStruct.Mode = GPIO_MODE_AF_OD;
  GPIO_InitStruct.Pull = GPIO_NOPULL;
  GPIO_InitStruct.Speed = GPIO_SPEED_FREQ_LOW;
  GPIO_InitStruct.Alternate = GPIO_AF4_I2C3;
  HAL_GPIO_Init(I2C3_SDA_GPIO_Port, &GPIO_InitStruct);

  /*Configure GPIO pin : I2C3_SCL_Pin */
  GPIO_InitStruct.Pin = I2C3_SCL_Pin;
  GPIO_InitStruct.Mode = GPIO_MODE_AF_OD;
  GPIO_InitStruct.Pull = GPIO_NOPULL;
  GPIO_InitStruct.Speed = GPIO_SPEED_FREQ_LOW;
  GPIO_InitStruct.Alternate = GPIO_AF4_I2C3;
  HAL_GPIO_Init(I2C3_SCL_GPIO_Port, &GPIO_InitStruct);

  /*Configure GPIO pins : STLINK_RX_Pin STLINK_TX_Pin */
  GPIO_InitStruct.Pin = STLINK_RX_Pin|STLINK_TX_Pin;
  GPIO_InitStruct.Mode = GPIO_MODE_AF_PP;
  GPIO_InitStruct.Pull = GPIO_NOPULL;
  GPIO_InitStruct.Speed = GPIO_SPEED_FREQ_VERY_HIGH;
  GPIO_InitStruct.Alternate = GPIO_AF7_USART1;
  HAL_GPIO_Init(GPIOA, &GPIO_InitStruct);

  /*Configure GPIO pins : G7_Pin B2_Pin */
  GPIO_InitStruct.Pin = G7_Pin|B2_Pin;
  GPIO_InitStruct.Mode = GPIO_MODE_AF_PP;
  GPIO_InitStruct.Pull = GPIO_NOPULL;
  GPIO_InitStruct.Speed = GPIO_SPEED_FREQ_LOW;
  GPIO_InitStruct.Alternate = GPIO_AF14_LTDC;
  HAL_GPIO_Init(GPIOD, &GPIO_InitStruct);

  /*Configure GPIO pins : G3_Pin B4_Pin */
  GPIO_InitStruct.Pin = G3_Pin|B4_Pin;
  GPIO_InitStruct.Mode = GPIO_MODE_AF_PP;
  GPIO_InitStruct.Pull = GPIO_NOPULL;
  GPIO_InitStruct.Speed = GPIO_SPEED_FREQ_LOW;
  GPIO_InitStruct.Alternate = GPIO_AF9_LTDC;
  HAL_GPIO_Init(GPIOG, &GPIO_InitStruct);

  /*Configure GPIO pins : LD3_Pin LD4_Pin */
  GPIO_InitStruct.Pin = LD3_Pin|LD4_Pin;
  GPIO_InitStruct.Mode = GPIO_MODE_OUTPUT_PP;
  GPIO_InitStruct.Pull = GPIO_NOPULL;
  GPIO_InitStruct.Speed = GPIO_SPEED_FREQ_LOW;
  HAL_GPIO_Init(GPIOG, &GPIO_InitStruct);

  /*Configure GPIO pins : SDCKE1_Pin SDNE1_Pin */
  GPIO_InitStruct.Pin = SDCKE1_Pin|SDNE1_Pin;
  GPIO_InitStruct.Mode = GPIO_MODE_AF_PP;
  GPIO_InitStruct.Pull = GPIO_NOPULL;
  GPIO_InitStruct.Speed = GPIO_SPEED_FREQ_VERY_HIGH;
  GPIO_InitStruct.Alternate = GPIO_AF12_FMC;
  HAL_GPIO_Init(GPIOB, &GPIO_InitStruct);

  /* EXTI interrupt init*/
  HAL_NVIC_SetPriority(EXTI0_IRQn, 6, 0);
  HAL_NVIC_EnableIRQ(EXTI0_IRQn);

}

/* USER CODE BEGIN 4 */
void button_interrupt_handler()
{
	BaseType_t pxHigherPriorityTaskWoken;

	pxHigherPriorityTaskWoken = pdFALSE;

	traceISR_ENTER();
	xTaskNotifyFromISR(next_task_handle,0,eNoAction,&pxHigherPriorityTaskWoken);

	/* once the ISR exits, the below macro makes higher priority task which got unblocked to resume on the CPU */
	portYIELD_FROM_ISR(pxHigherPriorityTaskWoken);

	traceISR_EXIT();

}

static void led_green_handler(void* parameters)
{
	BaseType_t  status;
	while(1)
	{
		SEGGER_SYSVIEW_PrintfTarget("Toggling green LED");
		HAL_GPIO_TogglePin(GPIOG, LED_GREEN_PIN);
		status = xTaskNotifyWait(0,0,NULL,pdMS_TO_TICKS(1000));
		if(status == pdTRUE){
			portENTER_CRITICAL();
			next_task_handle = ledr_task_handle;
			HAL_GPIO_WritePin(GPIOG, LED_GREEN_PIN,GPIO_PIN_SET);
			SEGGER_SYSVIEW_PrintfTarget("Delete green LED task");
			portEXIT_CRITICAL();
			vTaskDelete(NULL);
		}

	}
}

static void led_red_handler(void* parameters)
{
	BaseType_t  status;

	while(1)
	{
		SEGGER_SYSVIEW_PrintfTarget("Toggling red LED");
		HAL_GPIO_TogglePin(GPIOG, LED_RED_PIN);
		status = xTaskNotifyWait(0,0,NULL,pdMS_TO_TICKS(400));
		if(status == pdTRUE)
		{
			portENTER_CRITICAL();
			next_task_handle = NULL;
			HAL_GPIO_WritePin(GPIOG, LED_RED_PIN,GPIO_PIN_SET);
			SEGGER_SYSVIEW_PrintfTarget("Delete red LED task");
			portEXIT_CRITICAL();
			vTaskDelete(NULL);
		}

	}

}

/* USER CODE END 4 */

void HAL_TIM_PeriodElapsedCallback(TIM_HandleTypeDef *htim)
{
  if (htim->Instance == TIM6) {
    HAL_IncTick();
  }
}

void Error_Handler(void)
{
  __disable_irq();
  while (1)
  {
  }
}

/************************ (C) COPYRIGHT STMicroelectronics *****END OF FILE****/
